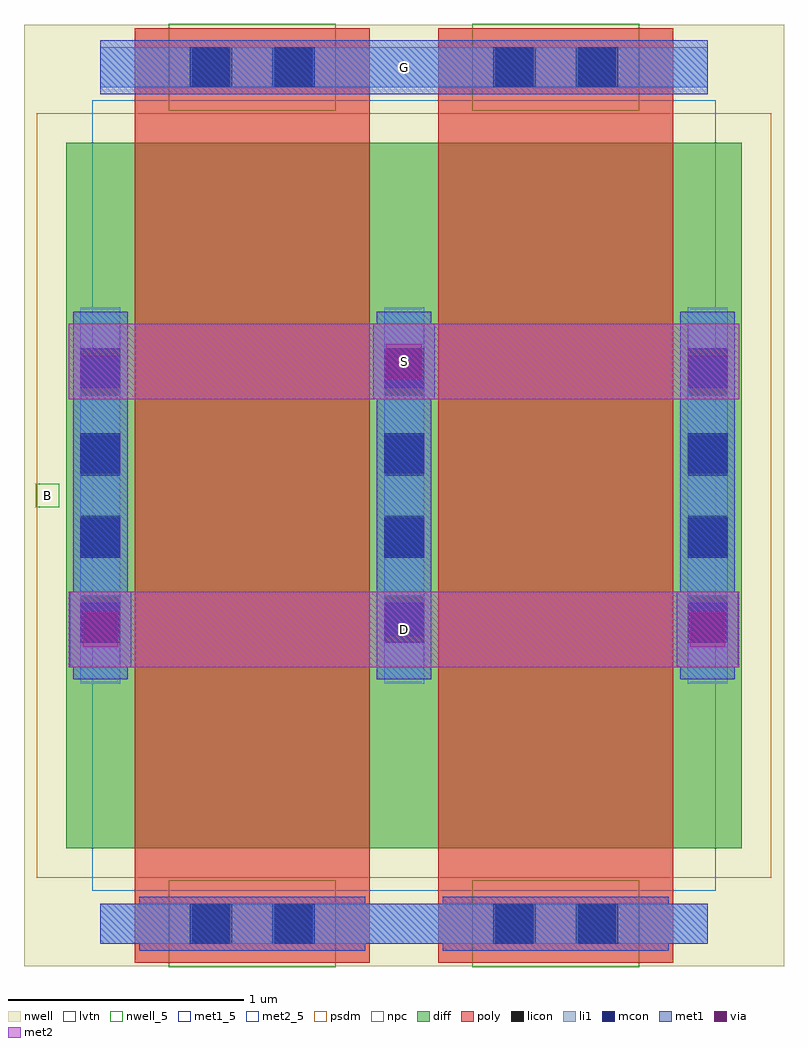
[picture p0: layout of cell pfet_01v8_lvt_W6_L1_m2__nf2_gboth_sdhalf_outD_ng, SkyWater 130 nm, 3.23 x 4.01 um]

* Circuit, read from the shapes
.subckt pfet_01v8_lvt_W6_L1_m2__nf2_gboth_sdhalf_outD_ng B D G S
XM1 S G D B sky130_fd_pr__pfet_01v8_lvt w=3 l=1 m=2
.ends

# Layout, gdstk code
import gdstk
lib = gdstk.Library(unit=1e-6, precision=1e-09)
def R(c, l, rs):  # rectangles x0, y0, x1, y1
    for r in rs: c.add(gdstk.rectangle(r[:2], r[2:], *l))
def A(c, l, x, y, w, h, nx, ny, dx, dy):  # array of equal rectangles
    R(c, l, [(x+i*dx, y+j*dy, x+i*dx+w, y+j*dy+h) for i in range(nx) for j in range(ny)])
nwell_5 = (64, 5)
nwell = (64, 20)
diff = (65, 20)
poly = (66, 20)
licon = (66, 44)
li1 = (67, 20)
mcon = (67, 44)
met1_5 = (68, 5)
met1 = (68, 20)
via = (68, 44)
met2_5 = (69, 5)
met2 = (69, 20)
psdm = (94, 20)
npc = (95, 20)
lvtn = (125, 44)

sky130_fd_pr__pfet_01v8_ = lib.new_cell('sky130_fd_pr__pfet_01v8_lvt_A2VZHB')
R(sky130_fd_pr__pfet_01v8_, nwell, [(-1.615,-2,1.615,2)])
R(sky130_fd_pr__pfet_01v8_, diff, [(-1.435,-1.5,1.435,1.5)])
R(sky130_fd_pr__pfet_01v8_, poly, [(-1.145,-1.985,-0.145,1.985), (0.145,-1.985,1.145,1.985)])
A(sky130_fd_pr__pfet_01v8_, licon, -1.375, -0.595, 0.17, 0.17, 3, 4, 1.29, 0.34)
R(sky130_fd_pr__pfet_01v8_, licon, [(-0.9,-1.905,-0.73,-1.735), (-0.56,-1.905,-0.39,-1.735), (0.39,-1.905,0.56,-1.735), (0.73,-1.905,0.9,-1.735), (-0.9,1.735,-0.73,1.905), (-0.56,1.735,-0.39,1.905), (0.39,1.735,0.56,1.905), (0.73,1.735,0.9,1.905)])
A(sky130_fd_pr__pfet_01v8_, li1, -1.375, -0.8, 0.17, 1.6, 3, 1, 1.29, 0)
R(sky130_fd_pr__pfet_01v8_, li1, [(-1.29,-1.905,1.29,-1.735), (-1.29,1.735,1.29,1.905)])
A(sky130_fd_pr__pfet_01v8_, mcon, -1.375, -0.625, 0.17, 0.17, 3, 4, 1.29, 0.36)
R(sky130_fd_pr__pfet_01v8_, mcon, [(-0.91,-1.905,-0.74,-1.735), (-0.55,-1.905,-0.38,-1.735), (0.38,-1.905,0.55,-1.735), (0.74,-1.905,0.91,-1.735), (-0.91,1.735,-0.74,1.905), (-0.55,1.735,-0.38,1.905), (0.38,1.735,0.55,1.905), (0.74,1.735,0.91,1.905)])
A(sky130_fd_pr__pfet_01v8_, met1, -1.405, -0.78, 0.23, 1.56, 3, 1, 1.29, 0)
R(sky130_fd_pr__pfet_01v8_, met1, [(-1.125,-1.935,-0.165,-1.905), (0.165,-1.935,1.125,-1.905), (-1.29,-1.905,1.29,-1.735), (-1.125,-1.735,-0.165,-1.705), (0.165,-1.735,1.125,-1.705), (-1.125,1.705,-0.165,1.735), (0.165,1.705,1.125,1.735), (-1.29,1.735,1.29,1.905), (-1.125,1.905,-0.165,1.935), (0.165,1.905,1.125,1.935)])
R(sky130_fd_pr__pfet_01v8_, psdm, [(-1.56,-1.625,1.56,1.625)])
R(sky130_fd_pr__pfet_01v8_, npc, [(-1,-2.005,-0.29,-1.635), (0.29,-2.005,1,-1.635), (-1,1.635,-0.29,2.005), (0.29,1.635,1,2.005)])
R(sky130_fd_pr__pfet_01v8_, lvtn, [(-1.325,-1.68,1.325,1.68)])
sky130_fd_pr__pfet_01v8_.add(gdstk.Label('D0', (-1.29,0), layer=67, texttype=5))
sky130_fd_pr__pfet_01v8_.add(gdstk.Label('G', (0.645,1.82), layer=67, texttype=5))
sky130_fd_pr__pfet_01v8_.add(gdstk.Label('G', (-0.645,1.82), layer=67, texttype=5))
sky130_fd_pr__pfet_01v8_.add(gdstk.Label('S1', (0,0), layer=67, texttype=5))

pfet_01v8_lvt_w6_l1_m2__ = lib.new_cell('pfet_01v8_lvt_W6_L1_m2__nf2_gboth_sdhalf_outD_ng')
R(pfet_01v8_lvt_w6_l1_m2__, nwell_5, [(0.05,1.95,0.15,2.05)])
R(pfet_01v8_lvt_w6_l1_m2__, nwell, [(0.05,1.95,0.15,2.05)])
R(pfet_01v8_lvt_w6_l1_m2__, met1_5, [(0.325,3.705,2.905,3.935)])
R(pfet_01v8_lvt_w6_l1_m2__, met1, [(0.195,1.27,0.455,1.59), (2.775,1.27,3.035,1.59), (1.485,2.41,1.745,2.73), (0.325,3.705,2.905,3.935)])
R(pfet_01v8_lvt_w6_l1_m2__, via, [(0.25,1.355,0.4,1.505), (2.83,1.355,2.98,1.505), (1.54,2.495,1.69,2.645)])
R(pfet_01v8_lvt_w6_l1_m2__, met2_5, [(0.19,1.27,3.04,1.59), (0.19,2.41,3.04,2.73)])
R(pfet_01v8_lvt_w6_l1_m2__, met2, [(0.19,1.27,3.04,1.59), (0.19,2.41,3.04,2.73)])
pfet_01v8_lvt_w6_l1_m2__.add(gdstk.Reference(sky130_fd_pr__pfet_01v8_, (1.615,2)))
pfet_01v8_lvt_w6_l1_m2__.add(gdstk.Label('S', (1.615,2.57), layer=69, texttype=5))
pfet_01v8_lvt_w6_l1_m2__.add(gdstk.Label('D', (1.615,1.43), layer=69, texttype=5))
pfet_01v8_lvt_w6_l1_m2__.add(gdstk.Label('G', (1.615,3.82), layer=68, texttype=5))
pfet_01v8_lvt_w6_l1_m2__.add(gdstk.Label('B', (0.1,2), layer=64, texttype=5))

lib.write_gds('pfet_01v8_lvt_W6_L1_m2__nf2_gboth_sdhalf_outD_ng.gds')
